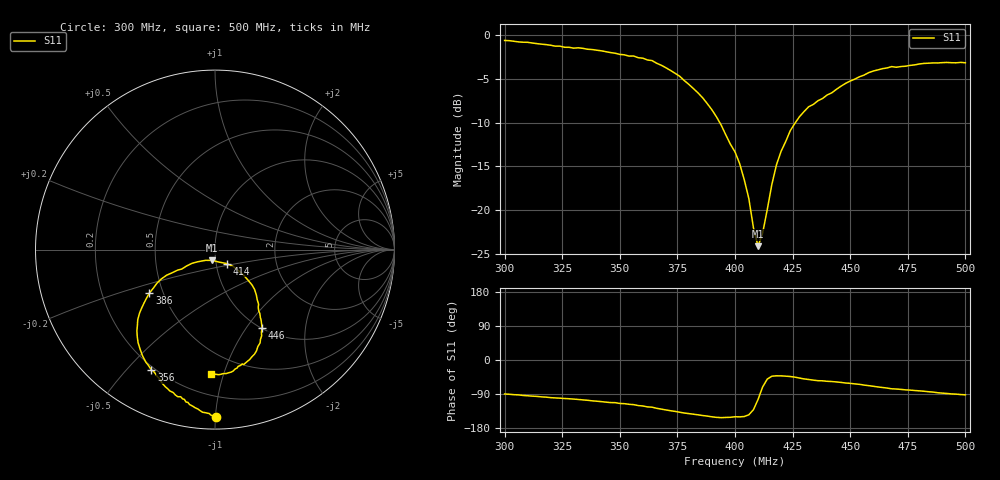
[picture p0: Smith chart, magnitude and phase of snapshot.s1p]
! Copper dipole approx 166 mm each arm after second 2mm trim; existing SOL calibration retained
# Hz S RI R 50
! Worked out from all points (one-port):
!   101 points, 300 MHz to 500 MHz, reference 50 ohm
!   lowest |S11| = -24.1 dB at 410 MHz (marker M1), VSWR 1.13, Z = 48.1 - j5.83 ohm
!   |S11| at or under -10 dB: 393.4 MHz to 426.2 MHz (32.86 MHz wide, 8.02 % of centre)
!   S11 on the Smith chart (normalised r, x): 300 MHz: 0.07, -1.00; 356 MHz: 0.19, -0.59; 386 MHz: 0.42, -0.25; 414 MHz: 1.12, -0.18; 446 MHz: 1.01, -1.19; 500 MHz: 0.34, -0.91
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3e8  0.00529 -0.9313
3.26e8  -0.1707 -0.8343
3.34e8  -0.2211 -0.8097
3.5e8  -0.324 -0.7045
3.56e8  -0.354 -0.6713
3.64e8  -0.405 -0.5889
3.76e8  -0.4305 -0.3905
3.86e8  -0.365 -0.241
3.92e8  -0.2986 -0.1632
4e8  -0.1857 -0.1085
4.04e8  -0.1282 -0.0765
4.06e8  -0.0949 -0.0675
4.08e8  -0.0521 -0.0597
4.1e8  -0.0153 -0.0603
4.12e8  0.0239 -0.0699
4.14e8  0.0642 -0.0776
4.16e8  0.1029 -0.095
4.18e8  0.1354 -0.1208
4.2e8  0.1613 -0.1445
4.26e8  0.2205 -0.2222
4.32e8  0.243 -0.3045
4.46e8  0.2623 -0.4376
4.5e8  0.26 -0.4804
4.58e8  0.2314 -0.564
4.68e8  0.1599 -0.6406
4.76e8  0.1231 -0.6595
4.86e8  0.0641 -0.6902
5e8  -0.0232 -0.6939
